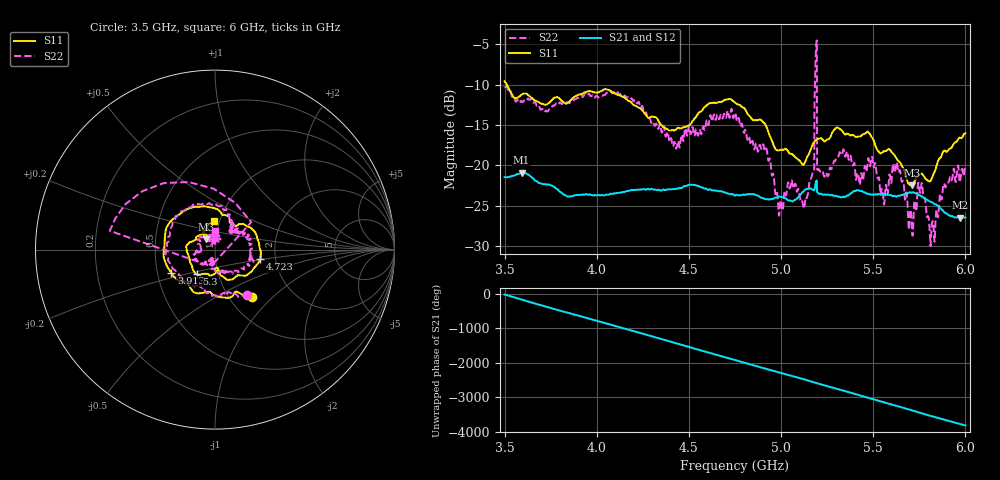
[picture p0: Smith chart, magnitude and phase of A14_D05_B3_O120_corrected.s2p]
! Created with skrf 1.9.0 (http://scikit-rf.org).
# Hz S RI R 50.0
!freq ReS11 ImS11 ReS21 ImS21 ReS12 ImS12 ReS22 ImS22
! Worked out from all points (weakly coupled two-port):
!   1601 points, 3.5 GHz to 6 GHz, reference 50 ohm
!   highest |S21| = -20.90 dB at 3.592 GHz (marker M1); lowest = -26.5 dB at 5.972 GHz (marker M2)
!   lowest |S11| = -22.5 dB at 5.709 GHz (marker M3), VSWR 1.16, Z = 45 + j5.19 ohm
!   |S11| at or under -10 dB: 3.512 GHz to end of sweep
!   |S22| runs from -30.0 to -4.5 dB; largest |S21 - S12| = 0.001
!   S11 on the Smith chart (normalised r, x): 3.5 GHz: 1.27, -0.75; 3.913 GHz: 0.59, -0.17; 4.723 GHz: 1.66, -0.19; 5.3 GHz: 0.79, -0.22; 6 GHz: 0.94, +0.30
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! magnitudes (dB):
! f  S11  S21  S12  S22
! 3.5 GHz  -9.6  -21.4  -21.4  -10.3
! 3.592 GHz  -11.2  -20.9  -20.9  -12.0
! 3.913 GHz  -11.2  -23.6  -23.6  -11.5
! 3.917 GHz  -11.2  -23.6  -23.6  -11.4
! 4.334 GHz  -14.5  -23.0  -23.0  -15.5
! 4.439 GHz  -15.3  -22.9  -22.8  -17.0
! 4.723 GHz  -11.8  -23.5  -23.5  -13.8
! 4.75 GHz  -12.2  -23.7  -23.6  -13.5
! 4.912 GHz  -14.8  -24.1  -24.1  -18.2
! 4.997 GHz  -18.1  -23.9  -23.8  -24.3
! 5.167 GHz  -17.6  -23.0  -22.9  -21.3
! 5.184 GHz  -17.0  -22.6  -22.5  -9.4
! 5.194 GHz  -16.8  -21.9  -21.9  -4.5
! 5.208 GHz  -16.7  -23.5  -23.5  -20.6
! 5.3 GHz  -15.3  -23.8  -23.8  -19.0
! 5.584 GHz  -18.0  -23.7  -23.6  -21.8
! 5.636 GHz  -19.4  -23.8  -23.7  -20.8
! 5.709 GHz  -22.5  -23.3  -23.3  -27.5
! 5.755 GHz  -21.1  -23.7  -23.7  -23.4
! 5.822 GHz  -21.4  -24.6  -24.6  -26.9
! 5.972 GHz  -16.6  -26.5  -26.4  -21.9
! 6 GHz  -16.0  -26.4  -26.4  -19.9
